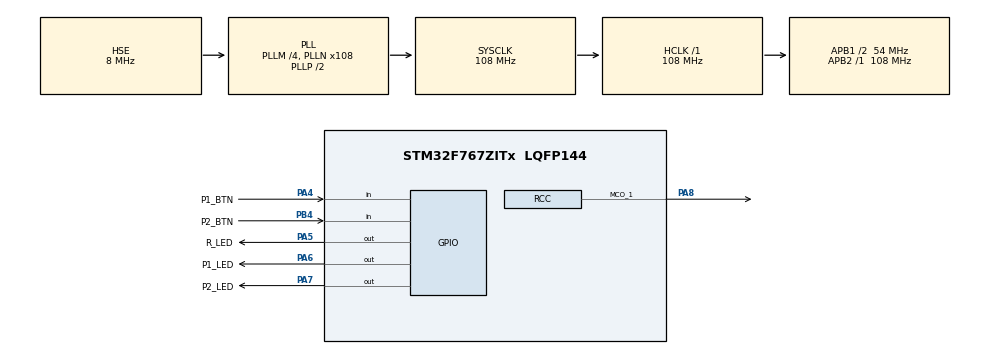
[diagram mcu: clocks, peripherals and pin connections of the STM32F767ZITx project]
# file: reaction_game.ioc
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Mcu.Family=STM32F7
Mcu.Name=STM32F767ZITx
Mcu.Package=LQFP144
NVIC.PriorityGroup=NVIC_PRIORITYGROUP_4
PA4.GPIO_Label=P1_BTN
PA4.Signal=GPIO_Input
PA5.GPIO_Label=R_LED
PA5.Signal=GPIO_Output
PA6.GPIO_Label=P1_LED
PA6.Signal=GPIO_Output
PA7.GPIO_Label=P2_LED
PA7.Signal=GPIO_Output
PA8.Mode=Clock-out-1
PA8.Signal=RCC_MCO_1
PB4.GPIO_Label=P2_BTN
PB4.Signal=GPIO_Input
PH0/OSC_IN.Mode=HSE-External-Oscillator
PH0/OSC_IN.Signal=RCC_OSC_IN
PH1/OSC_OUT.Mode=HSE-External-Oscillator
PH1/OSC_OUT.Signal=RCC_OSC_OUT
ProjectManager.HeapSize=0x200
ProjectManager.StackSize=0x400
ProjectManager.TargetToolchain=STM32CubeIDE
RCC.48MHZClocksFreq_Value=24000000
RCC.AHBFreq_Value=108000000
RCC.APB1CLKDivider=RCC_HCLK_DIV2
RCC.APB1Freq_Value=54000000
RCC.APB1TimFreq_Value=108000000
RCC.APB2Freq_Value=108000000
RCC.APB2TimFreq_Value=108000000
RCC.CortexFreq_Value=108000000
RCC.HCLKFreq_Value=108000000
RCC.HSE_VALUE=8000000
RCC.HSI_VALUE=16000000
RCC.LSE_VALUE=32768
RCC.PLLM=4
RCC.PLLMUL=RCC_PLL_MUL9
RCC.PLLN=108
RCC.PLLSourceVirtual=RCC_PLLSOURCE_HSE
RCC.PRESCALERUSB=RCC_USBCLKSOURCE_PLL_DIV1_5
RCC.SYSCLKFreq_VALUE=108000000
RCC.SYSCLKSource=RCC_SYSCLKSOURCE_PLLCLK
RCC.SYSCLKSourceVirtual=RCC_SYSCLKSOURCE_PLLCLK
RCC.USBFreq_Value=108000000
RCC.VCOOutputFreq_Value=216000000
TIM2.Prescaler=54-1
VP_TIM2_VS_ClockSourceINT.Mode=Internal
board=NUCLEO-F767ZI

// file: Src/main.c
/* USER CODE BEGIN Header */
/**
 ******************************************************************************
 * @file           : main.c
 * @brief          : Main program body
 ******************************************************************************
 * @attention
 *
 * Copyright (c) 2025 STMicroelectronics.
 * All rights reserved.
 *
 * This software is licensed under terms that can be found in the LICENSE file
 * in the root directory of this software component.
 * If no LICENSE file comes with this software, it is provided AS-IS.
 *
 ******************************************************************************
 */
/* USER CODE END Header */
#include "main.h"
#include <stdlib.h>

TIM_HandleTypeDef htim2;

void SystemClock_Config(void);
static void MX_GPIO_Init(void);
static void MX_TIM2_Init(void);

/* USER CODE BEGIN 0 */
int generateRandomDelay(int min, int max)
{
  return min + rand() % (max - min + 1);
}

void delay_ms(uint32_t ms)
{
  __HAL_TIM_SET_COUNTER(&htim2, 0);
  while (__HAL_TIM_GET_COUNTER(&htim2) < ms)
    ;
}

/* USER CODE END 0 */

int main(void)
{

  /* MCU Configuration--------------------------------------------------------*/

  /* Reset of all peripherals, Initializes the Flash interface and the Systick. */
  HAL_Init();

  /* Configure the system clock */
  SystemClock_Config();

  /* Initialize all configured peripherals */
  MX_GPIO_Init();
  MX_TIM2_Init();
  /* USER CODE BEGIN 2 */

  srand(HAL_GetTick());
  HAL_TIM_Base_Start(&htim2);

  /* USER CODE END 2 */

  /* Infinite loop */
  while (1)
  {
    /* USER CODE BEGIN 3 */
    // Slår av alle lys
    HAL_GPIO_WritePin(GPIOA, R_LED_Pin | P1_LED_Pin | P2_LED_Pin, GPIO_PIN_RESET);

    // Tilfeldig tid før reaksjons LED slår seg på
    int waitTime = generateRandomDelay(3000, 20000);
    uint32_t startTick = HAL_GetTick();
    int falseStart = 0;

    while ((HAL_GetTick() - startTick) < waitTime)
    {
      if (HAL_GPIO_ReadPin(GPIOA, P1_BTN_Pin) == GPIO_PIN_SET)
      {
        // P1 trykte for tidlig, P2 vinner
        HAL_GPIO_WritePin(GPIOA, R_LED_Pin, GPIO_PIN_RESET);
        HAL_GPIO_WritePin(GPIOA, P2_LED_Pin, GPIO_PIN_SET);
        falseStart = 1;
        break;
      }

      if (HAL_GPIO_ReadPin(GPIOB, P2_BTN_Pin) == GPIO_PIN_SET)
      {
        // P2 trykte for tidlig, P1 vinner
        HAL_GPIO_WritePin(GPIOA, R_LED_Pin, GPIO_PIN_RESET);
        HAL_GPIO_WritePin(GPIOA, P1_LED_Pin, GPIO_PIN_SET);
        falseStart = 1;
        break;
      }
    }

    if (falseStart)
    {
      while (1)
        ; // Noken trykte for tidlig, så spele blir fryst til reset
    }

    // Slår på reaksjons lyset
    HAL_GPIO_WritePin(GPIOA, R_LED_Pin, GPIO_PIN_SET);

    // Kode for å finne ut kem som vinner
    while (1)
    {
      if (HAL_GPIO_ReadPin(GPIOA, P1_BTN_Pin) == GPIO_PIN_SET)
      {
        // P1 Vinner
        HAL_GPIO_WritePin(GPIOA, R_LED_Pin, GPIO_PIN_RESET);
        HAL_GPIO_WritePin(GPIOA, P1_LED_Pin, GPIO_PIN_SET);
        break;
      }

      if (HAL_GPIO_ReadPin(GPIOB, P2_BTN_Pin) == GPIO_PIN_SET)
      {
        // P2 Vinner
        HAL_GPIO_WritePin(GPIOA, R_LED_Pin, GPIO_PIN_RESET);
        HAL_GPIO_WritePin(GPIOA, P2_LED_Pin, GPIO_PIN_SET);
        break;
      }
    }

    // Spelet er ferdig, vente på reset
    while (1)
      ;
  }
  /* USER CODE END 3 */
}

void SystemClock_Config(void)
{
  RCC_OscInitTypeDef RCC_OscInitStruct = {0};
  RCC_ClkInitTypeDef RCC_ClkInitStruct = {0};

  /** Configure the main internal regulator output voltage
   */
  __HAL_RCC_PWR_CLK_ENABLE();
  __HAL_PWR_VOLTAGESCALING_CONFIG(PWR_REGULATOR_VOLTAGE_SCALE3);

  /** Initializes the RCC Oscillators according to the specified parameters
   * in the RCC_OscInitTypeDef structure.
   */
  RCC_OscInitStruct.OscillatorType = RCC_OSCILLATORTYPE_HSI | RCC_OSCILLATORTYPE_HSE;
  RCC_OscInitStruct.HSEState = RCC_HSE_ON;
  RCC_OscInitStruct.HSIState = RCC_HSI_ON;
  RCC_OscInitStruct.HSICalibrationValue = RCC_HSICALIBRATION_DEFAULT;
  RCC_OscInitStruct.PLL.PLLState = RCC_PLL_ON;
  RCC_OscInitStruct.PLL.PLLSource = RCC_PLLSOURCE_HSE;
  RCC_OscInitStruct.PLL.PLLM = 4;
  RCC_OscInitStruct.PLL.PLLN = 108;
  RCC_OscInitStruct.PLL.PLLP = RCC_PLLP_DIV2;
  RCC_OscInitStruct.PLL.PLLQ = 2;
  RCC_OscInitStruct.PLL.PLLR = 2;
  if (HAL_RCC_OscConfig(&RCC_OscInitStruct) != HAL_OK)
  {
    Error_Handler();
  }

  /** Activate the Over-Drive mode
   */
  if (HAL_PWREx_EnableOverDrive() != HAL_OK)
  {
    Error_Handler();
  }

  /** Initializes the CPU, AHB and APB buses clocks
   */
  RCC_ClkInitStruct.ClockType = RCC_CLOCKTYPE_HCLK | RCC_CLOCKTYPE_SYSCLK | RCC_CLOCKTYPE_PCLK1 | RCC_CLOCKTYPE_PCLK2;
  RCC_ClkInitStruct.SYSCLKSource = RCC_SYSCLKSOURCE_PLLCLK;
  RCC_ClkInitStruct.AHBCLKDivider = RCC_SYSCLK_DIV1;
  RCC_ClkInitStruct.APB1CLKDivider = RCC_HCLK_DIV2;
  RCC_ClkInitStruct.APB2CLKDivider = RCC_HCLK_DIV1;

  if (HAL_RCC_ClockConfig(&RCC_ClkInitStruct, FLASH_LATENCY_3) != HAL_OK)
  {
    Error_Handler();
  }
  HAL_RCC_MCOConfig(RCC_MCO1, RCC_MCO1SOURCE_HSI, RCC_MCODIV_1);
}

static void MX_TIM2_Init(void)
{

  TIM_ClockConfigTypeDef sClockSourceConfig = {0};
  TIM_MasterConfigTypeDef sMasterConfig = {0};

  htim2.Instance = TIM2;
  htim2.Init.Prescaler = 54 - 1;
  htim2.Init.CounterMode = TIM_COUNTERMODE_UP;
  htim2.Init.Period = 4294967295;
  htim2.Init.ClockDivision = TIM_CLOCKDIVISION_DIV1;
  htim2.Init.AutoReloadPreload = TIM_AUTORELOAD_PRELOAD_DISABLE;
  if (HAL_TIM_Base_Init(&htim2) != HAL_OK)
  {
    Error_Handler();
  }
  sClockSourceConfig.ClockSource = TIM_CLOCKSOURCE_INTERNAL;
  if (HAL_TIM_ConfigClockSource(&htim2, &sClockSourceConfig) != HAL_OK)
  {
    Error_Handler();
  }
  sMasterConfig.MasterOutputTrigger = TIM_TRGO_RESET;
  sMasterConfig.MasterSlaveMode = TIM_MASTERSLAVEMODE_DISABLE;
  if (HAL_TIMEx_MasterConfigSynchronization(&htim2, &sMasterConfig) != HAL_OK)
  {
    Error_Handler();
  }
}

static void MX_GPIO_Init(void)
{
  GPIO_InitTypeDef GPIO_InitStruct = {0};

  /* GPIO Ports Clock Enable */
  __HAL_RCC_GPIOH_CLK_ENABLE();
  __HAL_RCC_GPIOA_CLK_ENABLE();
  __HAL_RCC_GPIOB_CLK_ENABLE();

  /*Configure GPIO pin Output Level */
  HAL_GPIO_WritePin(GPIOA, R_LED_Pin | P1_LED_Pin | P2_LED_Pin, GPIO_PIN_RESET);

  /*Configure GPIO pin : P1_BTN_Pin */
  GPIO_InitStruct.Pin = P1_BTN_Pin;
  GPIO_InitStruct.Mode = GPIO_MODE_INPUT;
  GPIO_InitStruct.Pull = GPIO_NOPULL;
  HAL_GPIO_Init(P1_BTN_GPIO_Port, &GPIO_InitStruct);

  /*Configure GPIO pins : R_LED_Pin P1_LED_Pin P2_LED_Pin */
  GPIO_InitStruct.Pin = R_LED_Pin | P1_LED_Pin | P2_LED_Pin;
  GPIO_InitStruct.Mode = GPIO_MODE_OUTPUT_PP;
  GPIO_InitStruct.Pull = GPIO_NOPULL;
  GPIO_InitStruct.Speed = GPIO_SPEED_FREQ_LOW;
  HAL_GPIO_Init(GPIOA, &GPIO_InitStruct);

  /*Configure GPIO pin : PA8 */
  GPIO_InitStruct.Pin = GPIO_PIN_8;
  GPIO_InitStruct.Mode = GPIO_MODE_AF_PP;
  GPIO_InitStruct.Pull = GPIO_NOPULL;
  GPIO_InitStruct.Speed = GPIO_SPEED_FREQ_LOW;
  GPIO_InitStruct.Alternate = GPIO_AF0_MCO;
  HAL_GPIO_Init(GPIOA, &GPIO_InitStruct);

  /*Configure GPIO pin : P2_BTN_Pin */
  GPIO_InitStruct.Pin = P2_BTN_Pin;
  GPIO_InitStruct.Mode = GPIO_MODE_INPUT;
  GPIO_InitStruct.Pull = GPIO_NOPULL;
  HAL_GPIO_Init(P2_BTN_GPIO_Port, &GPIO_InitStruct);

}

void Error_Handler(void)
{
  __disable_irq();
  while (1)
  {
  }
}
